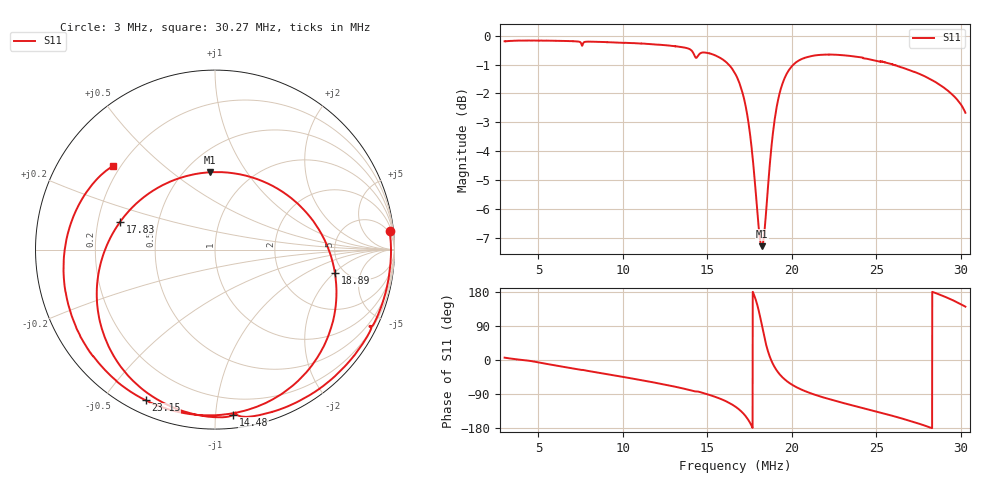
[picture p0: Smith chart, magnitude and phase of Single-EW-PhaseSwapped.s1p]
# HZ S RI R 50
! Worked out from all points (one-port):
!   2727 points, 3 MHz to 30.27 MHz, reference 50 ohm
!   lowest |S11| = -7.3 dB at 18.22 MHz (marker M1), VSWR 2.52, Z = 32.8 + j34.7 ohm
!   |S11| at or under -10 dB: nowhere
!   S11 on the Smith chart (normalised r, x): 3 MHz: 4, +18; 14.48 MHz: 0.09, -1.11; 17.83 MHz: 0.29, +0.13; 18.89 MHz: 4.23, -2.04; 23.15 MHz: 0.06, -0.64; 30.27 MHz: 0.17, +0.35
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3000000  0.9722 0.1057
6411364  0.934 -0.2944
9822728  0.7086 -0.6661
1.323409e7  0.2985 -0.9098
1.448459e7  0.1018 -0.9205
1.572509e7  -0.1845 -0.8976
1.663545e7  -0.461 -0.7268
1.703561e7  -0.5875 -0.5502
1.738575e7  -0.6571 -0.2976
1.762585e7  -0.6335 -0.0636
1.782593e7  -0.5301 0.1529
1.804602e7  -0.2916 0.3592
1.821608e7  -0.0275 0.4309
1.837615e7  0.233 0.3936
1.856622e7  0.4818 0.2351
1.871628e7  0.6044 0.0661
1.888635e7  0.668 -0.1296
1.914646e7  0.6606 -0.3848
1.940656e7  0.5896 -0.5691
2.004682e7  0.3585 -0.8125
2.129732e7  -0.0106 -0.9235
2.314806e7  -0.3867 -0.8395
2.345818e7  -0.4377 -0.8118
2.535894e7  -0.6924 -0.5764
2.686954e7  -0.8156 -0.3127
2.87503e7  -0.8151 0.1073
2.953061e7  -0.7297 0.2993
3.02709e7  -0.5694 0.465
